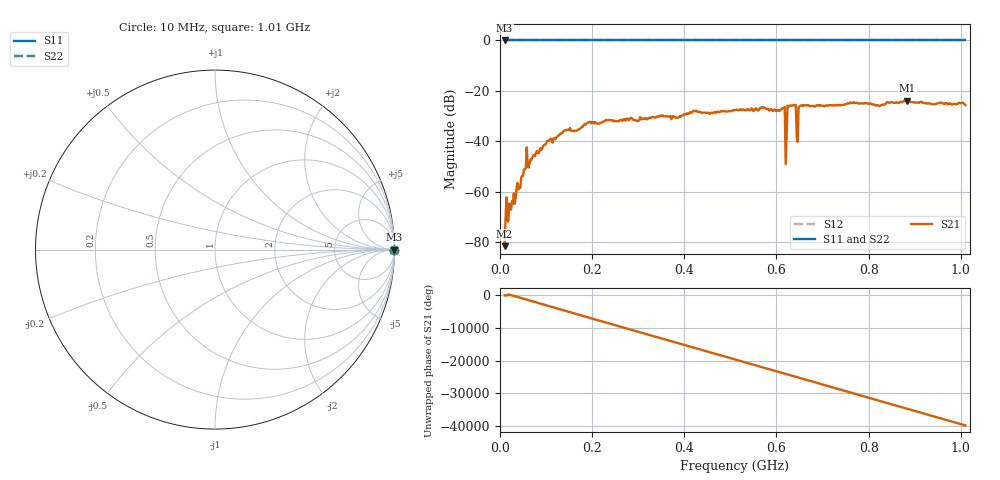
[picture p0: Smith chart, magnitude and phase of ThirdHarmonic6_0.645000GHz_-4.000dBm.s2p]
! 8/15/2025 9:21:52 PM
! C:\ANRITSUVNA\TEMP\TEMP.S2P
! CHANNEL.1
! TR.MEASUREMENT
! RAW.DATA
! RF.CORRECTION.OFF
! AVERAGING.OFF
! IF.BANDWIDTH: 5KHZ
! SWEEPTYPE:  FREQ.SWEEP(Linear)
! Reference Plane Port Info
! PORT:  PORT1  PORT2
! DISTANCE:  0  m  0  m
! TIME:  0  s  0  s
! PHASE.OFFSET:  0  deg.  0  deg.
! LOSS:  0  dB  0  dB
! REF.LOSS:  0  dB  0  dB
! REF.FREQ:  0  Hz  0  Hz
! Power Info
! POWER:  -20  dBm  -20  dBm
! EFF.POWER:  -20  dBm  -20  dBm
! SOURCE.ATTEN:  0  dB  0  dB
! TEST.ATTEN:  0  dB  0  dB
# GHZ S RI R 50.0
! FREQ.GHZ  S11RE  S11IM  S21RE  S21IM  S12RE  S12IM  S22RE  S22IM
!; PortSelection: Port_12
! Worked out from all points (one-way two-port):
!   501 points, 10 MHz to 1.01 GHz, reference 50 ohm
!   highest |S21| = -23.86 dB at 884 MHz (marker M1); lowest = -81.6 dB at 10 MHz (marker M2)
!   lowest |S11| = 0.0 dB at 10 MHz (marker M3)
!   |S11| at or under -10 dB: nowhere
!   |S22| runs from 0.0 to 0.0 dB; largest |S21 - S12| = 1.1
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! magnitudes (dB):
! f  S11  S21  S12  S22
! 10 MHz  0.0  -81.6  0.0  0.0
! 16 MHz  0.0  -71.3  0.0  0.0
! 20 MHz  0.0  -64.7  0.0  0.0
! 44 MHz  0.0  -58.5  0.0  0.0
! 56 MHz  0.0  -50.6  0.0  0.0
! 106 MHz  0.0  -39.9  0.0  0.0
! 178 MHz  0.0  -34.2  0.0  0.0
! 192 MHz  0.0  -32.5  0.0  0.0
! 344 MHz  0.0  -30.3  0.0  0.0
! 510 MHz  0.0  -27.6  0.0  0.0
! 614 MHz  0.0  -26.8  0.0  0.0
! 618 MHz  0.0  -26.4  0.0  0.0
! 624 MHz  0.0  -25.8  0.0  0.0
! 628 MHz  0.0  -26.2  0.0  0.0
! 638 MHz  0.0  -25.6  0.0  0.0
! 642 MHz  0.0  -25.7  0.0  0.0
! 648 MHz  0.0  -26.4  0.0  0.0
! 652 MHz  0.0  -25.9  0.0  0.0
! 678 MHz  0.0  -26.0  0.0  0.0
! 844 MHz  0.0  -24.7  0.0  0.0
! 884 MHz  0.0  -23.9  0.0  0.0
! 1.01 GHz  0.0  -25.6  0.0  0.0
